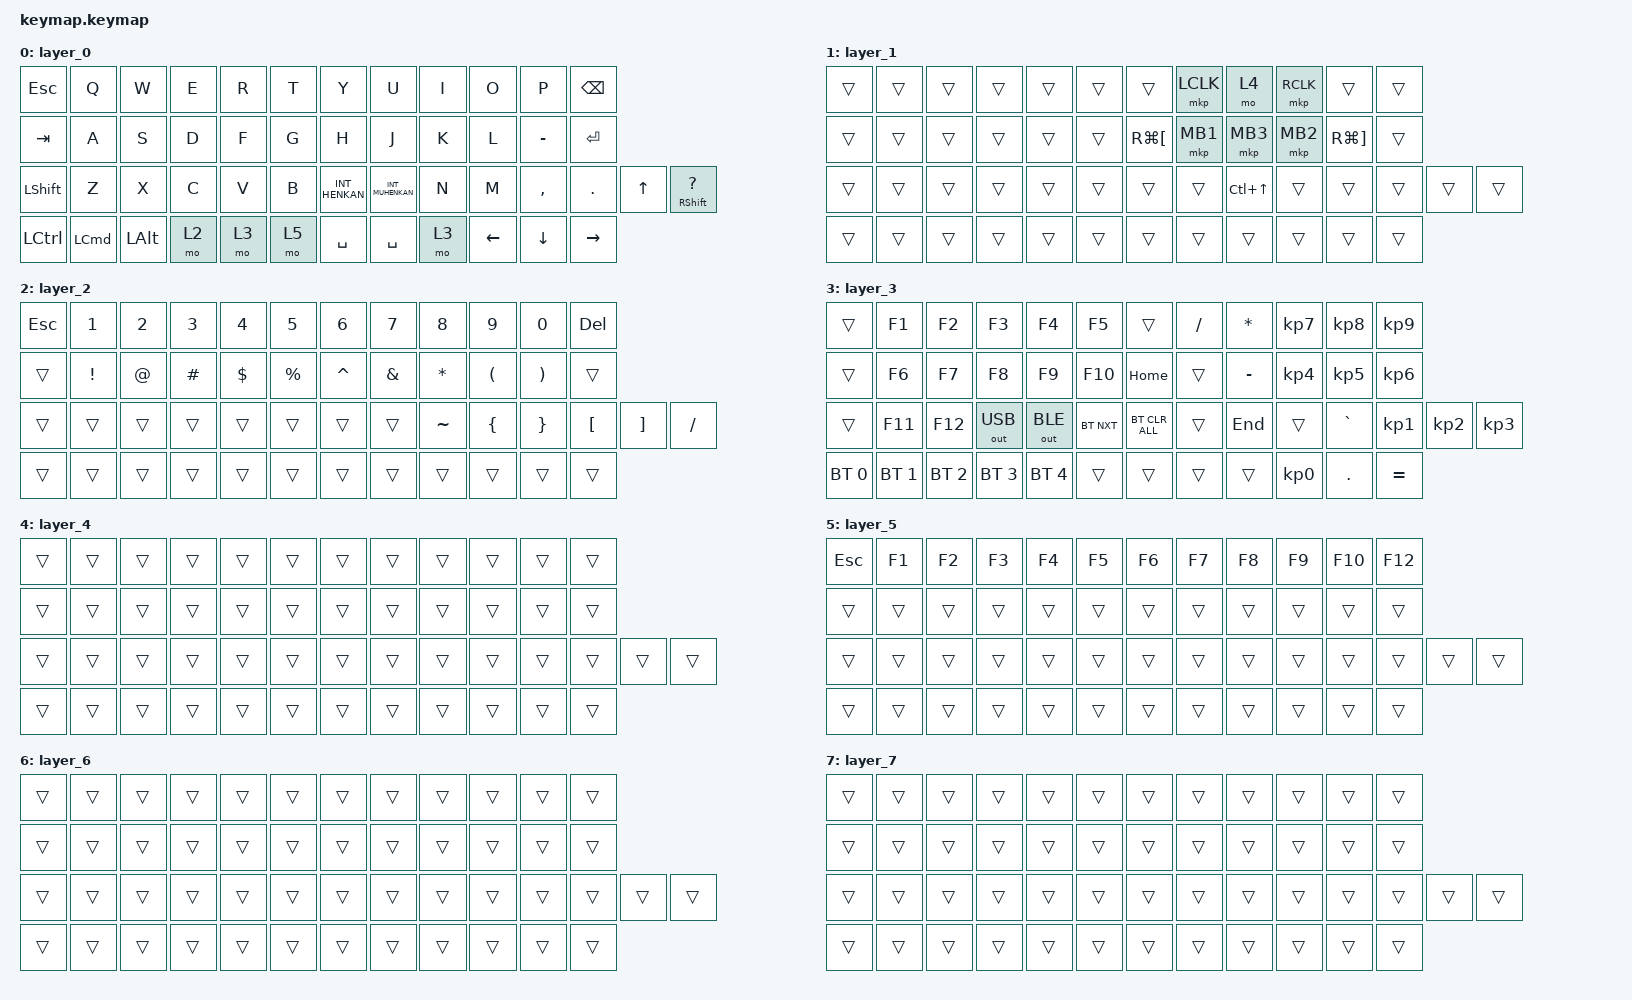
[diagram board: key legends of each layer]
#include <behaviors.dtsi>
#include <dt-bindings/zmk/bt.h>
#include <dt-bindings/zmk/keys.h>
#include <dt-bindings/zmk/outputs.h>
#include <dt-bindings/zmk/pointing.h>

/ {
    combos {
        compatible = "zmk,combos";

        bt_clear {
            bindings = <&bt BT_CLR>;
            key-positions = <28 29>;
            layers = <2>;
        };
    };

    keymap {
        compatible = "zmk,keymap";

        layer_0 {
            bindings = <
&kp ESCAPE        &kp Q             &kp W         &kp E  &kp R  &kp T  &kp Y           &kp U             &kp I  &kp O           &kp P           &kp BSPC
&kp TAB           &kp A             &kp S         &kp D  &kp F  &kp G  &kp H           &kp J             &kp K  &kp L           &kp MINUS       &kp ENTER
&kp LSHFT         &kp Z             &kp X         &kp C  &kp V  &kp B  &kp INT_HENKAN  &kp INT_MUHENKAN  &kp N  &kp M           &kp COMMA       &kp DOT          &kp UP_ARROW  &mt RSHFT QUESTION
&kp LEFT_CONTROL  &kp LEFT_COMMAND  &kp LEFT_ALT  &mo 2  &mo 3  &mo 5  &kp SPACE       &kp SPACE         &mo 3  &kp LEFT_ARROW  &kp DOWN_ARROW  &kp RIGHT_ARROW
            >;
        };

        layer_1 {
            bindings = <
&trans  &trans  &trans  &trans  &trans  &trans  &trans                &mkp LCLK  &mo 4             &mkp RCLK  &trans                 &trans
&trans  &trans  &trans  &trans  &trans  &trans  &kp RG(LEFT_BRACKET)  &mkp MB1   &mkp MB3          &mkp MB2   &kp RG(RIGHT_BRACKET)  &trans
&trans  &trans  &trans  &trans  &trans  &trans  &trans                &trans     &kp LC(UP_ARROW)  &trans     &trans                 &trans  &trans  &trans
&trans  &trans  &trans  &trans  &trans  &trans  &trans                &trans     &trans            &trans     &trans                 &trans
            >;
        };

        layer_2 {
            bindings = <
&kp ESCAPE  &kp N1    &kp N2  &kp N3    &kp N4      &kp N5     &kp N6     &kp N7         &kp N8     &kp N9                &kp N0                 &kp DELETE
&trans      &kp EXCL  &kp AT  &kp HASH  &kp DOLLAR  &kp PRCNT  &kp CARET  &kp AMPERSAND  &kp ASTRK  &kp LEFT_PARENTHESIS  &kp RIGHT_PARENTHESIS  &trans
&trans      &trans    &trans  &trans    &trans      &trans     &trans     &trans         &kp TILDE  &kp LEFT_BRACE        &kp RIGHT_BRACE        &kp LEFT_BRACKET  &kp RIGHT_BRACKET  &kp SLASH
&trans      &trans    &trans  &trans    &trans      &trans     &trans     &trans         &trans     &trans                &trans                 &trans
            >;
        };

        layer_3 {
            bindings = <
&trans        &kp F1        &kp F2        &kp F3        &kp F4        &kp F5      &trans          &kp FSLH  &kp ASTRK  &kp KP_NUMBER_7  &kp KP_NUMBER_8  &kp KP_NUMBER_9
&trans        &kp F6        &kp F7        &kp F8        &kp F9        &kp F10     &kp HOME        &trans    &kp MINUS  &kp KP_NUMBER_4  &kp KP_NUMBER_5  &kp KP_NUMBER_6
&trans        &kp F11       &kp F12       &out OUT_USB  &out OUT_BLE  &bt BT_NXT  &bt BT_CLR_ALL  &trans    &kp END    &trans           &kp GRAVE        &kp KP_NUMBER_1  &kp KP_NUMBER_2  &kp KP_NUMBER_3
&bt BT_SEL 0  &bt BT_SEL 1  &bt BT_SEL 2  &bt BT_SEL 3  &bt BT_SEL 4  &trans      &trans          &trans    &trans     &kp KP_NUMBER_0  &kp DOT          &kp EQUAL
            >;
        };

        layer_4 {
            bindings = <
&trans  &trans  &trans  &trans  &trans  &trans  &trans  &trans  &trans  &trans  &trans  &trans
&trans  &trans  &trans  &trans  &trans  &trans  &trans  &trans  &trans  &trans  &trans  &trans
&trans  &trans  &trans  &trans  &trans  &trans  &trans  &trans  &trans  &trans  &trans  &trans  &trans  &trans
&trans  &trans  &trans  &trans  &trans  &trans  &trans  &trans  &trans  &trans  &trans  &trans
            >;
        };

        layer_5 {
            bindings = <
&kp ESC  &kp F1  &kp F2  &kp F3  &kp F4  &kp F5  &kp F6  &kp F7  &kp F8  &kp F9  &kp F10  &kp F12
&trans   &trans  &trans  &trans  &trans  &trans  &trans  &trans  &trans  &trans  &trans   &trans
&trans   &trans  &trans  &trans  &trans  &trans  &trans  &trans  &trans  &trans  &trans   &trans   &trans  &trans
&trans   &trans  &trans  &trans  &trans  &trans  &trans  &trans  &trans  &trans  &trans   &trans
            >;
        };

        layer_6 {
            bindings = <
&trans  &trans  &trans  &trans  &trans  &trans  &trans  &trans  &trans  &trans  &trans  &trans
&trans  &trans  &trans  &trans  &trans  &trans  &trans  &trans  &trans  &trans  &trans  &trans
&trans  &trans  &trans  &trans  &trans  &trans  &trans  &trans  &trans  &trans  &trans  &trans  &trans  &trans
&trans  &trans  &trans  &trans  &trans  &trans  &trans  &trans  &trans  &trans  &trans  &trans
            >;
        };

        layer_7 {
            bindings = <
&trans  &trans  &trans  &trans  &trans  &trans  &trans  &trans  &trans  &trans  &trans  &trans
&trans  &trans  &trans  &trans  &trans  &trans  &trans  &trans  &trans  &trans  &trans  &trans
&trans  &trans  &trans  &trans  &trans  &trans  &trans  &trans  &trans  &trans  &trans  &trans  &trans  &trans
&trans  &trans  &trans  &trans  &trans  &trans  &trans  &trans  &trans  &trans  &trans  &trans
            >;
        };
    };
};
